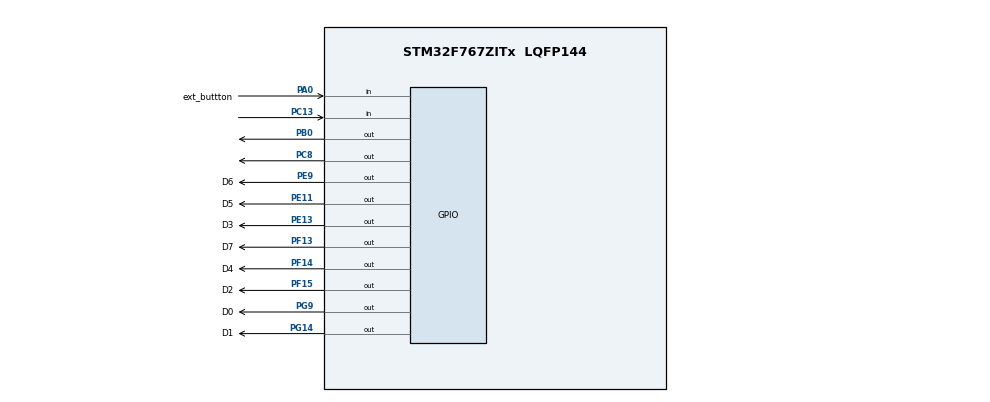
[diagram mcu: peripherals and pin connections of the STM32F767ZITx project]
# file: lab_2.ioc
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Mcu.Family=STM32F7
Mcu.Name=STM32F767ZITx
Mcu.Package=LQFP144
NVIC.PriorityGroup=NVIC_PRIORITYGROUP_4
PA0/WKUP.GPIO_Label=ext_buttton
PA0/WKUP.GPIO_PuPd=GPIO_PULLUP
PA0/WKUP.Signal=GPIO_Input
PB0.Signal=GPIO_Output
PC13.Signal=GPIO_Input
PC8.Signal=GPIO_Output
PE11.GPIO_Label=D5
PE11.Signal=GPIO_Output
PE13.GPIO_Label=D3
PE13.Signal=GPIO_Output
PE9.GPIO_Label=D6
PE9.Signal=GPIO_Output
PF13.GPIO_Label=D7
PF13.Signal=GPIO_Output
PF14.GPIO_Label=D4
PF14.Signal=GPIO_Output
PF15.GPIO_Label=D2
PF15.Signal=GPIO_Output
PG14.GPIO_Label=D1
PG14.Signal=GPIO_Output
PG9.GPIO_Label=D0
PG9.Signal=GPIO_Output
ProjectManager.HeapSize=0x200
ProjectManager.StackSize=0x400
ProjectManager.TargetToolchain=STM32CubeIDE
RCC.HSE_VALUE=25000000
RCC.HSI_VALUE=16000000
RCC.LSE_VALUE=32768
RCC.USBFreq_Value=96000000
RCC.VCOOutputFreq_Value=192000000
board=custom

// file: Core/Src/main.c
/* USER CODE BEGIN Header */
/**
  ******************************************************************************
  * @file           : main.c
  * @brief          : Main program body
  ******************************************************************************
  * @attention
  *
  * <h2><center>&copy; Copyright (c) 2020 STMicroelectronics.
  * All rights reserved.</center></h2>
  *
  * This software component is licensed by ST under BSD 3-Clause license,
  * the "License"; You may not use this file except in compliance with the
  * License. You may obtain a copy of the License at:
  *                        opensource.org/licenses/BSD-3-Clause
  *
  ******************************************************************************
  */
/* USER CODE END Header */

#include "main.h"

/* USER CODE BEGIN PM */
enum state{STATE_STEADY, STATE_BLUE_BUTTON,STATE_EXT_BUTTON};
/* USER CODE END PM */

/* USER CODE BEGIN PV */
uint8_t on_state = 0;

enum state led_array_state = STATE_STEADY;

GPIO_TypeDef* LED_Port[8] = {D0_GPIO_Port, D1_GPIO_Port, D2_GPIO_Port, D3_GPIO_Port, D4_GPIO_Port, D5_GPIO_Port, D6_GPIO_Port, D7_GPIO_Port};
uint32_t LED_Pin[8] = {D0_Pin, D1_Pin, D2_Pin, D3_Pin, D4_Pin, D5_Pin, D6_Pin, D7_Pin};
/* USER CODE END PV */

void SystemClock_Config(void);
static void MX_GPIO_Init(void);
/* USER CODE BEGIN PFP */
void question_1(void);
void question_2_3(void);
void question_4(void);

// for question 4
// main event
void led_event_steady(void);
void led_event_blue_button(void);
void led_event_ext_button(void);

// help func
void blink_led(GPIO_TypeDef* GPIO_Port, uint16_t pin);
void blink_by_stage(uint8_t stage);
/* USER CODE END PFP */

int main(void)
{

  /* MCU Configuration--------------------------------------------------------*/

  /* Reset of all peripherals, Initializes the Flash interface and the Systick. */
  HAL_Init();

  /* Configure the system clock */
  SystemClock_Config();

  /* Initialize all configured peripherals */
  MX_GPIO_Init();

  /* Infinite loop */
  /* USER CODE BEGIN WHILE */
  while (1)
  {
	question_4();
    /* USER CODE END WHILE */

  }
}

void SystemClock_Config(void)
{
  RCC_OscInitTypeDef RCC_OscInitStruct = {0};
  RCC_ClkInitTypeDef RCC_ClkInitStruct = {0};

  /** Configure the main internal regulator output voltage
  */
  __HAL_RCC_PWR_CLK_ENABLE();
  __HAL_PWR_VOLTAGESCALING_CONFIG(PWR_REGULATOR_VOLTAGE_SCALE3);
  /** Initializes the CPU, AHB and APB busses clocks
  */
  RCC_OscInitStruct.OscillatorType = RCC_OSCILLATORTYPE_HSI;
  RCC_OscInitStruct.HSIState = RCC_HSI_ON;
  RCC_OscInitStruct.HSICalibrationValue = RCC_HSICALIBRATION_DEFAULT;
  RCC_OscInitStruct.PLL.PLLState = RCC_PLL_NONE;
  if (HAL_RCC_OscConfig(&RCC_OscInitStruct) != HAL_OK)
  {
    Error_Handler();
  }
  /** Initializes the CPU, AHB and APB busses clocks
  */
  RCC_ClkInitStruct.ClockType = RCC_CLOCKTYPE_HCLK|RCC_CLOCKTYPE_SYSCLK
                              |RCC_CLOCKTYPE_PCLK1|RCC_CLOCKTYPE_PCLK2;
  RCC_ClkInitStruct.SYSCLKSource = RCC_SYSCLKSOURCE_HSI;
  RCC_ClkInitStruct.AHBCLKDivider = RCC_SYSCLK_DIV1;
  RCC_ClkInitStruct.APB1CLKDivider = RCC_HCLK_DIV1;
  RCC_ClkInitStruct.APB2CLKDivider = RCC_HCLK_DIV1;

  if (HAL_RCC_ClockConfig(&RCC_ClkInitStruct, FLASH_LATENCY_0) != HAL_OK)
  {
    Error_Handler();
  }
}

static void MX_GPIO_Init(void)
{
  GPIO_InitTypeDef GPIO_InitStruct = {0};

  /* GPIO Ports Clock Enable */
  __HAL_RCC_GPIOC_CLK_ENABLE();
  __HAL_RCC_GPIOA_CLK_ENABLE();
  __HAL_RCC_GPIOB_CLK_ENABLE();
  __HAL_RCC_GPIOF_CLK_ENABLE();
  __HAL_RCC_GPIOE_CLK_ENABLE();
  __HAL_RCC_GPIOG_CLK_ENABLE();

  /*Configure GPIO pin Output Level */
  HAL_GPIO_WritePin(GPIOB, GPIO_PIN_0, GPIO_PIN_RESET);

  /*Configure GPIO pin Output Level */
  HAL_GPIO_WritePin(GPIOF, D7_Pin|D4_Pin|D2_Pin, GPIO_PIN_RESET);

  /*Configure GPIO pin Output Level */
  HAL_GPIO_WritePin(GPIOE, D6_Pin|D5_Pin|D3_Pin, GPIO_PIN_RESET);

  /*Configure GPIO pin Output Level */
  HAL_GPIO_WritePin(GPIOC, GPIO_PIN_8, GPIO_PIN_RESET);

  /*Configure GPIO pin Output Level */
  HAL_GPIO_WritePin(GPIOG, D0_Pin|D1_Pin, GPIO_PIN_RESET);

  /*Configure GPIO pin : PC13 */
  GPIO_InitStruct.Pin = GPIO_PIN_13;
  GPIO_InitStruct.Mode = GPIO_MODE_INPUT;
  GPIO_InitStruct.Pull = GPIO_NOPULL;
  HAL_GPIO_Init(GPIOC, &GPIO_InitStruct);

  /*Configure GPIO pin : ext_buttton_Pin */
  GPIO_InitStruct.Pin = ext_buttton_Pin;
  GPIO_InitStruct.Mode = GPIO_MODE_INPUT;
  GPIO_InitStruct.Pull = GPIO_PULLUP;
  HAL_GPIO_Init(ext_buttton_GPIO_Port, &GPIO_InitStruct);

  /*Configure GPIO pin : PB0 */
  GPIO_InitStruct.Pin = GPIO_PIN_0;
  GPIO_InitStruct.Mode = GPIO_MODE_OUTPUT_PP;
  GPIO_InitStruct.Pull = GPIO_NOPULL;
  GPIO_InitStruct.Speed = GPIO_SPEED_FREQ_LOW;
  HAL_GPIO_Init(GPIOB, &GPIO_InitStruct);

  /*Configure GPIO pins : D7_Pin D4_Pin D2_Pin */
  GPIO_InitStruct.Pin = D7_Pin|D4_Pin|D2_Pin;
  GPIO_InitStruct.Mode = GPIO_MODE_OUTPUT_PP;
  GPIO_InitStruct.Pull = GPIO_NOPULL;
  GPIO_InitStruct.Speed = GPIO_SPEED_FREQ_LOW;
  HAL_GPIO_Init(GPIOF, &GPIO_InitStruct);

  /*Configure GPIO pins : D6_Pin D5_Pin D3_Pin */
  GPIO_InitStruct.Pin = D6_Pin|D5_Pin|D3_Pin;
  GPIO_InitStruct.Mode = GPIO_MODE_OUTPUT_PP;
  GPIO_InitStruct.Pull = GPIO_NOPULL;
  GPIO_InitStruct.Speed = GPIO_SPEED_FREQ_LOW;
  HAL_GPIO_Init(GPIOE, &GPIO_InitStruct);

  /*Configure GPIO pin : PC8 */
  GPIO_InitStruct.Pin = GPIO_PIN_8;
  GPIO_InitStruct.Mode = GPIO_MODE_OUTPUT_PP;
  GPIO_InitStruct.Pull = GPIO_NOPULL;
  GPIO_InitStruct.Speed = GPIO_SPEED_FREQ_LOW;
  HAL_GPIO_Init(GPIOC, &GPIO_InitStruct);

  /*Configure GPIO pins : D0_Pin D1_Pin */
  GPIO_InitStruct.Pin = D0_Pin|D1_Pin;
  GPIO_InitStruct.Mode = GPIO_MODE_OUTPUT_PP;
  GPIO_InitStruct.Pull = GPIO_NOPULL;
  GPIO_InitStruct.Speed = GPIO_SPEED_FREQ_LOW;
  HAL_GPIO_Init(GPIOG, &GPIO_InitStruct);

}

/* USER CODE BEGIN 4 */
void question_1() {

	if (HAL_GPIO_ReadPin(GPIOC, GPIO_PIN_13) == GPIO_PIN_SET){
		HAL_GPIO_WritePin(GPIOB, GPIO_PIN_0, GPIO_PIN_SET);

		HAL_Delay(1000);

		HAL_GPIO_WritePin(GPIOB, GPIO_PIN_0, GPIO_PIN_RESET);
	}

}

void question_2_3() {

	if (HAL_GPIO_ReadPin(ext_buttton_GPIO_Port, ext_buttton_Pin) == GPIO_PIN_RESET){
		HAL_GPIO_WritePin(GPIOC, GPIO_PIN_8, GPIO_PIN_SET);
		on_state = 1;

		HAL_Delay(1000);

		HAL_GPIO_WritePin(GPIOC, GPIO_PIN_8, GPIO_PIN_RESET);
		on_state = 0;
	}

}

void question_4() {

	if(led_array_state == STATE_STEADY){
		led_event_steady();
	}

	if(led_array_state == STATE_BLUE_BUTTON){
		led_event_blue_button();
	}

	if(led_array_state == STATE_EXT_BUTTON){
		led_event_ext_button();
	}

}

void led_event_steady(){

	for(int i=0;i<=7;i++){
		HAL_GPIO_WritePin(LED_Port[i],LED_Pin[i],GPIO_PIN_SET);
	}

	if(HAL_GPIO_ReadPin(GPIOC, GPIO_PIN_13) == GPIO_PIN_SET){
		led_array_state = STATE_BLUE_BUTTON;
	}

	if(HAL_GPIO_ReadPin(ext_buttton_GPIO_Port, ext_buttton_Pin) == GPIO_PIN_RESET){
		led_array_state = STATE_EXT_BUTTON;
	}

}

void led_event_ext_button(){

	for(int i=0;i<8;i++){
		blink_led(LED_Port[i],LED_Pin[i]);
	}

	led_array_state = STATE_STEADY;

}

void led_event_blue_button(){

	for(int i=0;i<8;i++){
		blink_by_stage(i);
	}

	led_array_state = STATE_STEADY;

}

void blink_led(GPIO_TypeDef* GPIO_Port, uint16_t pin){

	HAL_GPIO_TogglePin(GPIO_Port, pin);
	HAL_Delay(500);
	HAL_GPIO_TogglePin(GPIO_Port, pin);

}

void blink_by_stage(uint8_t stage){

	HAL_GPIO_WritePin(LED_Port[stage], LED_Pin[stage], GPIO_PIN_RESET);
	HAL_GPIO_WritePin(LED_Port[(stage+7) %8], LED_Pin[(stage+7) %8], GPIO_PIN_SET);

	// wait for put your hand off
	while(HAL_GPIO_ReadPin(GPIOC, GPIO_PIN_13) == GPIO_PIN_SET);
	HAL_Delay(100);

	while(HAL_GPIO_ReadPin(GPIOC, GPIO_PIN_13) == GPIO_PIN_RESET);

}

/* USER CODE END 4 */

void Error_Handler(void)
{
}

/************************ (C) COPYRIGHT STMicroelectronics *****END OF FILE****/
